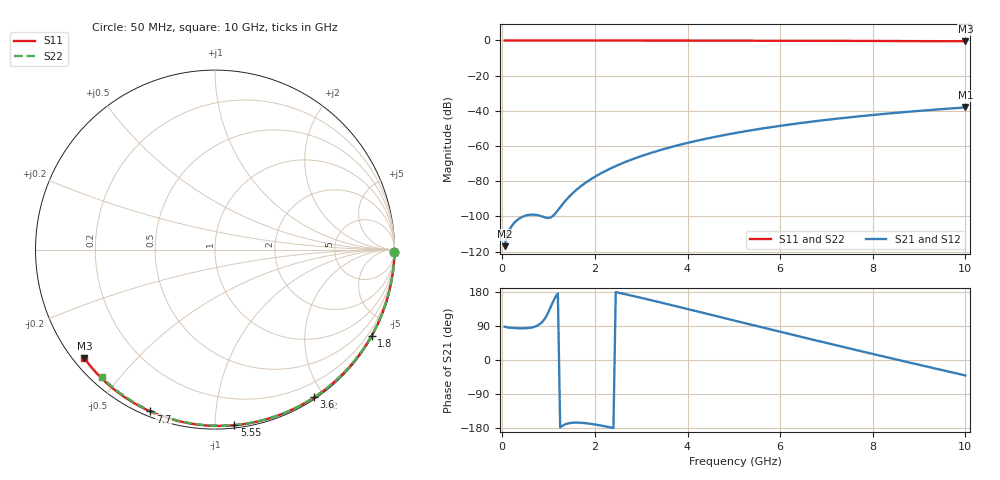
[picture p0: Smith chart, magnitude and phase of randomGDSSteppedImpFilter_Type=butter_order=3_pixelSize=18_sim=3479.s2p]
! freq	dB(S11)	phase(S11)	dB(S12)	phase(S12)
!  dB(S21)	phase(S21)	dB(S22)	phase(S22)
!S-par simulation data
#  GHz  S  DB  R 50
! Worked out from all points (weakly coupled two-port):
!   200 points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, 50 MHz to 10 GHz, reference 50 ohm
!   highest |S21| = -38.09 dB at 10 GHz (marker M1); lowest = -117.0 dB at 50 MHz (marker M2)
!   lowest |S11| = -0.5 dB at 10 GHz (marker M3), VSWR 36.68, Z = 1.54 - j18.1 ohm
!   |S11| at or under -10 dB: nowhere
!   |S22| runs from -0.4 to 0.0 dB; largest |S21 - S12| = 0
!   S11 on the Smith chart (normalised r, x): 50 MHz: open; 1.8 GHz: 0.03, -3.90; 3.6 GHz: 0.02, -1.88; 5.55 GHz: 0.02, -1.12; 7.7 GHz: 0.02, -0.68; 10 GHz: 0.03, -0.36
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0.05  -0.00 -0.8  -116.97 87.9  -116.97 87.9  -0.00 -0.8
0.45  -0.01 -7.3  -100.11 83.6  -100.11 83.6  -0.01 -6.8
0.9  -0.02 -14.5  -100.46 106.0  -100.46 106.0  -0.02 -13.6
1.75  -0.04 -28.0  -81.81 -166.1  -81.81 -166.1  -0.03 -26.2
1.8  -0.04 -28.7  -80.87 -166.7  -80.87 -166.7  -0.03 -26.9
1.85  -0.04 -29.5  -79.97 -167.5  -79.97 -167.5  -0.04 -27.7
2  -0.04 -31.9  -77.48 -170.2  -77.48 -170.2  -0.04 -29.9
2.15  -0.04 -34.2  -75.25 -173.4  -75.25 -173.4  -0.04 -32.1
2.35  -0.05 -37.3  -72.61 -178.2  -72.61 -178.2  -0.04 -35.0
2.55  -0.05 -40.4  -70.26 176.5  -70.26 176.5  -0.05 -37.8
2.95  -0.06 -46.4  -66.22 165.4  -66.22 165.4  -0.06 -43.6
3.4  -0.07 -53.2  -62.43 152.4  -62.43 152.4  -0.07 -49.9
3.6  -0.08 -56.1  -60.94 146.5  -60.94 146.5  -0.07 -52.7
4.3  -0.09 -66.3  -56.44 125.5  -56.44 125.5  -0.09 -62.3
5.05  -0.12 -76.9  -52.54 103.0  -52.54 103.0  -0.11 -72.2
5.55  -0.14 -83.7  -50.32 88.0  -50.32 88.0  -0.13 -78.7
6.1  -0.16 -91.1  -48.17 71.6  -48.17 71.6  -0.15 -85.7
6.7  -0.19 -99.0  -46.09 53.8  -46.09 53.8  -0.18 -93.1
7.7  -0.26 -111.8  -43.14 24.6  -43.14 24.6  -0.24 -105.1
8.35  -0.31 -119.9  -41.50 5.9  -41.50 5.9  -0.29 -112.7
9.2  -0.39 -130.4  -39.62 -18.3  -39.62 -18.3  -0.36 -122.4
10  -0.47 -140.2  -38.09 -40.8  -38.09 -40.8  -0.44 -131.4
